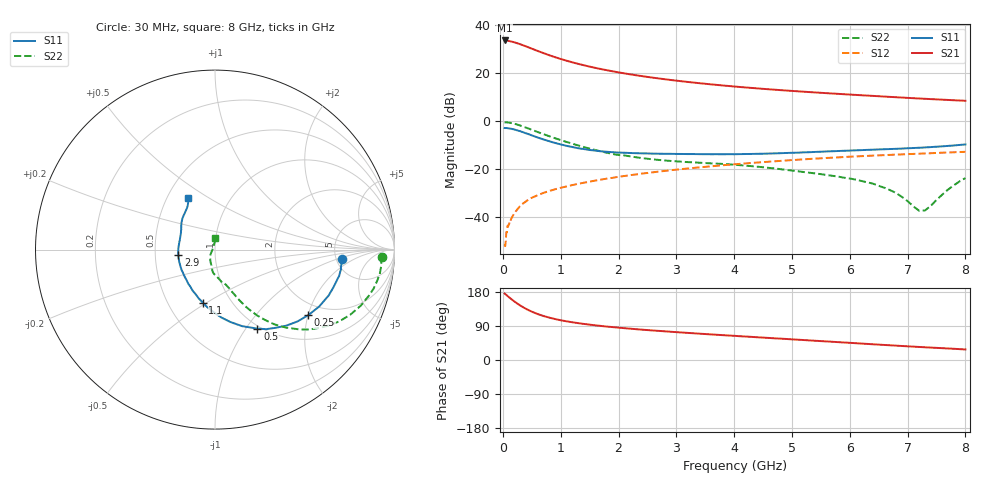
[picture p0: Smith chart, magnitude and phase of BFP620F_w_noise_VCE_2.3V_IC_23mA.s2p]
! (c) 2014  Infineon Technologies AG, Munich
! Infineon Technologies  Discrete & RF Semiconductors
! BFP620F
! VCE =  2.3 V,  IC =  23 mA
! Common Emitter S-Parameters:  Dec 2014
# GHz  S  MA  R  50
!  f  S11  S21  S12  S22
! GHz  MAG  ANG  MAG  ANG  MAG  ANG  MAG  ANG
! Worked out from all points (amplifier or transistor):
!   95 points, 30 MHz to 8 GHz, reference 50 ohm
!   highest |S21| = 33.4 dB at 30 MHz (marker M1)
!   |S21| within 3 dB of that: start of sweep to 457.3 MHz
!   unconditionally stable (mu >= 1): 2.651 GHz to end of sweep
!   at 300 MHz: K = 0.39, MSG = 33.6 dB, |S12| = -35.3 dB
!   at 3.3 GHz: K = 1.02, MAG = 16.8 dB, |S12| = -19.5 dB
!   at 8 GHz: K = 1.06, MAG = 9.0 dB, |S12| = -12.9 dB
!   lowest NFmin = 0.94 dB at 450 MHz
!   S11 on the Smith chart (normalised r, x): 30 MHz: 5.65, -1.25; 250 MHz: 1.64, -2.01; 500 MHz: 0.97, -1.13; 1.1 GHz: 0.74, -0.48; 2.9 GHz: 0.66, -0.04; 8 GHz: 0.64, +0.41
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0.03  0.7118 -4.4  46.76 175.5  0.0027 44.0  0.9286 -2.4
0.08  0.7072 -12.0  46.09 168.9  0.0066 75.0  0.9282 -8.5
0.13  0.6889 -19.1  44.93 162.6  0.0082 68.5  0.9101 -13.8
0.2  0.6612 -28.7  42.67 154.4  0.0122 69.9  0.8706 -21.0
0.25  0.6352 -35.1  40.92 148.9  0.0145 68.6  0.8372 -25.6
0.35  0.5807 -46.9  37.07 139.3  0.0193 67.7  0.7626 -33.7
0.4  0.5513 -52.2  35.24 135.0  0.0213 67.2  0.7239 -37.1
0.5  0.4997 -61.8  31.62 127.6  0.0253 65.2  0.6536 -43.0
0.6  0.4524 -70.5  28.37 121.4  0.0285 63.9  0.5874 -47.7
0.7  0.4124 -78.0  25.59 116.2  0.0319 63.7  0.5309 -51.6
0.8  0.3782 -85.0  23.15 111.9  0.0349 62.9  0.4808 -54.6
0.9  0.3485 -91.3  21.08 108.2  0.0379 62.8  0.4368 -57.3
1.1  0.3028 -103.0  17.76 102.1  0.0435 62.4  0.3652 -61.4
1.4  0.2601 -118.7  14.29 95.2  0.0519 62.1  0.2868 -65.8
2  0.2196 -144.8  10.17 85.4  0.069 61.2  0.1956 -74.3
2.7  0.2081 -167.0  7.591 76.8  0.0887 58.7  0.1544 -85.1
2.9  0.2068 -172.0  7.076 74.6  0.0943 57.9  0.1473 -87.5
4.1  0.204 163.4  5.055 62.8  0.1279 52.1  0.1203 -96.5
5.4  0.2264 146.2  3.894 50.8  0.1644 44.5  0.0812 -106.4
6.7  0.2602 131.6  3.146 38.8  0.1968 36.0  0.0363 -132.3
7.3  0.2809 123.6  2.873 33.6  0.2107 32.3  0.0138 145.6
8  0.3241 117.5  2.614 27.8  0.2277 27.6  0.0649 88.3
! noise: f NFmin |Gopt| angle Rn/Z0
0.45  0.94  0.04  2  0.2
0.9  0.98  0.02  6  0.17
1.5  1  0.01  -9  0.15
1.8  1.02  0.01  -17  0.16
1.9  1.02  0  51  0.16
2.4  1.05  0.03  -153  0.15
3.5  1.13  0.06  -161  0.15
5.5  1.28  0.17  234  0.11
6  1.32  0.16  256  0.14
